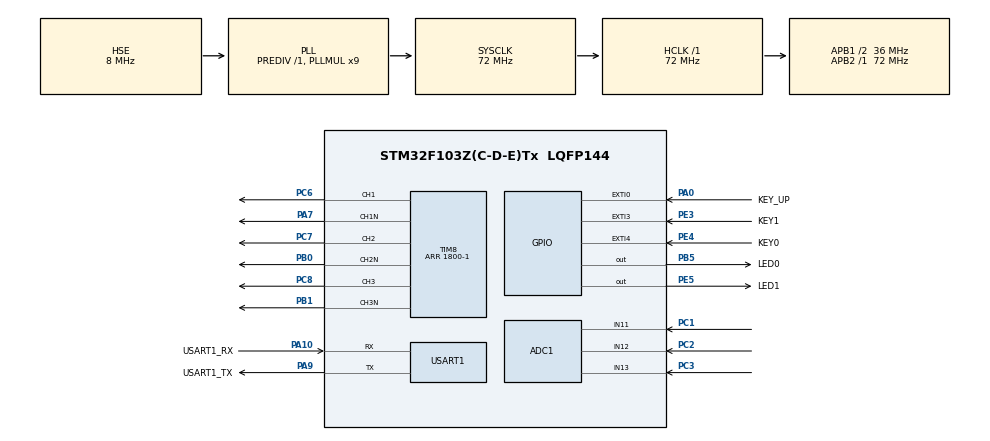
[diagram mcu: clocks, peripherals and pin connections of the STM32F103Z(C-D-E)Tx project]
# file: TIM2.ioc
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ADC1.Channel-3\#ChannelRegularConversion=ADC_CHANNEL_11
ADC1.Channel-4\#ChannelRegularConversion=ADC_CHANNEL_11
ADC1.Channel-5\#ChannelRegularConversion=ADC_CHANNEL_11
ADC1.ContinuousConvMode=ENABLE
ADC1.DiscontinuousConvMode=DISABLE
ADC1.NbrOfConversion=3
ADC1.NbrOfConversionFlag=1
ADC1.Rank-3\#ChannelRegularConversion=1
ADC1.Rank-4\#ChannelRegularConversion=2
ADC1.Rank-5\#ChannelRegularConversion=3
ADC1.SamplingTime-3\#ChannelRegularConversion=ADC_SAMPLETIME_1CYCLE_5
ADC1.SamplingTime-4\#ChannelRegularConversion=ADC_SAMPLETIME_1CYCLE_5
ADC1.SamplingTime-5\#ChannelRegularConversion=ADC_SAMPLETIME_1CYCLE_5
ADC1.master=1
Dma.ADC1.0.Direction=DMA_PERIPH_TO_MEMORY
Dma.ADC1.0.Instance=DMA1_Channel1
Dma.ADC1.0.MemDataAlignment=DMA_MDATAALIGN_HALFWORD
Dma.ADC1.0.MemInc=DMA_MINC_ENABLE
Dma.ADC1.0.Mode=DMA_CIRCULAR
Dma.ADC1.0.PeriphDataAlignment=DMA_PDATAALIGN_HALFWORD
Dma.ADC1.0.PeriphInc=DMA_PINC_DISABLE
Dma.ADC1.0.Priority=DMA_PRIORITY_LOW
Dma.Request0=ADC1
Mcu.Family=STM32F1
Mcu.Name=STM32F103Z(C-D-E)Tx
Mcu.Package=LQFP144
NVIC.DMA1_Channel1_IRQn=true\:0\:0\:false\:false\:true\:false\:true
NVIC.EXTI0_IRQn=true\:4\:0\:true\:false\:true\:true\:true
NVIC.EXTI3_IRQn=true\:4\:0\:true\:false\:true\:true\:true
NVIC.EXTI4_IRQn=true\:4\:0\:true\:false\:true\:true\:true
NVIC.PriorityGroup=NVIC_PRIORITYGROUP_4
NVIC.RCC_IRQn=true\:0\:0\:false\:false\:true\:true\:false
NVIC.TIM2_IRQn=true\:0\:0\:false\:false\:true\:true\:true
NVIC.USART1_IRQn=true\:3\:0\:true\:false\:true\:true\:true
OSC_IN.Mode=HSE-External-Oscillator
OSC_IN.Signal=RCC_OSC_IN
OSC_OUT.Mode=HSE-External-Oscillator
OSC_OUT.Signal=RCC_OSC_OUT
PA0-WKUP.GPIO_Label=KEY_UP
PA0-WKUP.GPIO_PuPd=GPIO_PULLDOWN
PA0-WKUP.Signal=GPXTI0
PA10.GPIO_Label=USART1_RX
PA10.GPIO_PuPd=GPIO_PULLUP
PA10.Mode=Asynchronous
PA10.Signal=USART1_RX
PA13.Mode=Serial_Wire
PA13.Signal=SYS_JTMS-SWDIO
PA14.Mode=Serial_Wire
PA14.Signal=SYS_JTCK-SWCLK
PA7.GPIO_Speed=GPIO_SPEED_FREQ_HIGH
PA7.Mode=PWM Generation1 CH1 CH1N
PA7.Signal=TIM8_CH1N
PA9.GPIO_Label=USART1_TX
PA9.Mode=Asynchronous
PA9.Signal=USART1_TX
PB0.GPIO_Speed=GPIO_SPEED_FREQ_HIGH
PB0.Mode=PWM Generation2 CH2 CH2N
PB0.Signal=TIM8_CH2N
PB1.GPIO_Speed=GPIO_SPEED_FREQ_HIGH
PB1.Mode=PWM Generation3 CH3 CH3N
PB1.Signal=TIM8_CH3N
PB5.GPIO_Label=LED0
PB5.GPIO_PuPd=GPIO_NOPULL
PB5.PinState=GPIO_PIN_SET
PB5.Signal=GPIO_Output
PC1.Signal=ADCx_IN11
PC2.Signal=ADCx_IN12
PC3.Signal=ADCx_IN13
PC6.GPIO_Speed=GPIO_SPEED_FREQ_HIGH
PC6.Signal=S_TIM8_CH1
PC7.GPIO_Speed=GPIO_SPEED_FREQ_HIGH
PC7.Signal=S_TIM8_CH2
PC8.GPIO_Speed=GPIO_SPEED_FREQ_HIGH
PC8.Signal=S_TIM8_CH3
PE3.GPIO_Label=KEY1
PE3.GPIO_ModeDefaultEXTI=GPIO_MODE_IT_FALLING
PE3.GPIO_PuPd=GPIO_PULLUP
PE3.Signal=GPXTI3
PE4.GPIO_Label=KEY0
PE4.GPIO_ModeDefaultEXTI=GPIO_MODE_IT_FALLING
PE4.GPIO_PuPd=GPIO_PULLUP
PE4.Signal=GPXTI4
PE5.GPIO_Label=LED1
PE5.PinState=GPIO_PIN_SET
PE5.Signal=GPIO_Output
ProjectManager.HeapSize=0x200
ProjectManager.StackSize=0x400
ProjectManager.TargetToolchain=MDK-ARM V5
RCC.ADCPresc=RCC_ADCPCLK2_DIV6
RCC.AHBFreq_Value=72000000
RCC.APB1CLKDivider=RCC_HCLK_DIV2
RCC.APB1Freq_Value=36000000
RCC.APB1TimFreq_Value=72000000
RCC.APB2Freq_Value=72000000
RCC.APB2TimFreq_Value=72000000
RCC.HCLKFreq_Value=72000000
RCC.PLLMUL=RCC_PLL_MUL9
RCC.PLLSourceVirtual=RCC_PLLSOURCE_HSE
RCC.SYSCLKFreq_VALUE=72000000
RCC.SYSCLKSource=RCC_SYSCLKSOURCE_PLLCLK
RCC.USBFreq_Value=72000000
SH.ADCx_IN11.0=ADC1_IN11,IN11
SH.ADCx_IN12.0=ADC1_IN12,IN12
SH.ADCx_IN13.0=ADC1_IN13,IN13
SH.S_TIM8_CH1.0=TIM8_CH1,PWM Generation1 CH1 CH1N
SH.S_TIM8_CH2.0=TIM8_CH2,PWM Generation2 CH2 CH2N
SH.S_TIM8_CH3.0=TIM8_CH3,PWM Generation3 CH3 CH3N
TIM2.AutoReloadPreload=TIM_AUTORELOAD_PRELOAD_ENABLE
TIM2.Period=5000-1
TIM2.Prescaler=7200-1
TIM8.AutoReloadPreload=TIM_AUTORELOAD_PRELOAD_ENABLE
TIM8.AutomaticOutput=TIM_AUTOMATICOUTPUT_DISABLE
TIM8.BreakState=TIM_BREAK_DISABLE
TIM8.Channel-PWM\ Generation1\ CH1\ CH1N=TIM_CHANNEL_1
TIM8.Channel-PWM\ Generation2\ CH2\ CH2N=TIM_CHANNEL_2
TIM8.Channel-PWM\ Generation3\ CH3\ CH3N=TIM_CHANNEL_3
TIM8.DeadTime=72
TIM8.OffStateIDLEMode=TIM_OSSI_DISABLE
TIM8.OffStateRunMode=TIM_OSSR_DISABLE
TIM8.Period=1800-1
TIM8.Pulse-PWM\ Generation1\ CH1\ CH1N=900
TIM8.Pulse-PWM\ Generation2\ CH2\ CH2N=600
TIM8.Pulse-PWM\ Generation3\ CH3\ CH3N=1300
USART1.VirtualMode=VM_ASYNC
VP_TIM2_VS_ClockSourceINT.Mode=Internal
VP_TIM8_VS_ClockSourceINT.Mode=Internal
board=custom

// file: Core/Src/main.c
/* USER CODE BEGIN Header */
/**
  ******************************************************************************
  * @file           : main.c
  * @brief          : Main program body
  ******************************************************************************
  * @attention
  *
  * Copyright (c) 2022 STMicroelectronics.
  * All rights reserved.
  *
  * This software is licensed under terms that can be found in the LICENSE file
  * in the root directory of this software component.
  * If no LICENSE file comes with this software, it is provided AS-IS.
  *
  ******************************************************************************
  */
/* USER CODE END Header */
#include "main.h"
#include "adc.h"
#include "dma.h"
#include "tim.h"
#include "usart.h"
#include "gpio.h"

/* USER CODE BEGIN Includes */

#include <stdio.h>
#include "string.h"

/* USER CODE END Includes */

/* USER CODE BEGIN PTD */

extern char RxBuffer[RXBUFFERSIZE];
extern uint8_t aRxBuffer;
extern uint8_t Uart1_Rx_Cnt;
/* USER CODE END PTD */

/* USER CODE BEGIN PD */

//#define Log 1 //��Ϣ��ӡLog��Ϣ�������ӡ��Ϊ0
#define USER_MAIN_DEBUG

#define COUNTOF(__BUFFER__)   (sizeof(__BUFFER__) / sizeof(*(__BUFFER__)))

/* USER CODE END PD */

/* USER CODE BEGIN PM */
#ifdef USER_MAIN_DEBUG

#define user_main_printf(format, ...)	printf(format "\r\n", ##__VA_ARGS__)

#define user_main_info(format, ...)		printf("[\tmain]info:"format "\r\n", ##__VA_ARGS__)

#define user_main_debug(format, ...)	printf("[\tmain]debug:"format "\r\n", ##__VA_ARGS__)

#define user_main_error(format, ...)	printf("[\tmain]error:"format "\r\n", ##__VA_ARGS__)

#else

#define user_main_printf(format, ...)

#define user_main_info(format, ...)

#define user_main_debug(format, ...)

#define user_main_error(format, ...)

#endif
/* USER CODE END PM */

void SystemClock_Config(void);

/* USER CODE BEGIN 0 */

int fputc(int ch, FILE *f){

	uint8_t temp[1] = {ch};
	HAL_UART_Transmit(&huart1, temp, 1, 2);
	return ch;
}

/* USER CODE END 0 */

int main(void)
{
  /* USER CODE BEGIN 1 */
  uint8_t Tx_str[] = "hello world!\r\n";
  uint16_t AD_Buf[3] = {0};
  /* USER CODE END 1 */

  /* MCU Configuration--------------------------------------------------------*/

  /* Reset of all peripherals, Initializes the Flash interface and the Systick. */
  HAL_Init();

  /* Configure the system clock */
  SystemClock_Config();

  /* Initialize all configured peripherals */
  MX_GPIO_Init();
  MX_TIM2_Init();
  MX_USART1_UART_Init();
  MX_TIM8_Init();
  MX_DMA_Init();
  MX_ADC1_Init();
  /* USER CODE BEGIN 2 */

  HAL_TIM_Base_Start_IT(&htim2);
  HAL_UART_Receive_IT(&huart1, (uint8_t *)&aRxBuffer, 1);			// Enable the USART1 Interrupt

  HAL_TIMEx_PWMN_Start(&htim8, TIM_CHANNEL_1);
  HAL_TIM_PWM_Start(&htim8, TIM_CHANNEL_1);

  HAL_TIMEx_PWMN_Start(&htim8, TIM_CHANNEL_2);
  HAL_TIM_PWM_Start(&htim8, TIM_CHANNEL_2);

  HAL_TIMEx_PWMN_Start(&htim8, TIM_CHANNEL_3);
  HAL_TIM_PWM_Start(&htim8, TIM_CHANNEL_3);

  HAL_ADCEx_Calibration_Start(&hadc1);
  HAL_ADC_Start_DMA(&hadc1,(uint32_t *)&AD_Buf, 6);

  user_main_printf("      _       ____    ____  ______   ________  _______    ");
  user_main_printf("     / \\     |_   \\  /   _||_   _ \\ |_   __  ||_   __  \\   ");
  user_main_printf("    / _ \\      |   \\/   |    | |_) |  | |_ \\_|  | |__  |   ");
  user_main_printf("   / ___ \\     | |\\  /| |    |  __'.  |  _| _   |  __  /   ");
  user_main_printf(" _/ /   \\ \\_  _| |_\\/_| |_  _| |__) |_| |__/ | _| |  \\ \\_ ");
  user_main_printf("|____| |____||_____||_____||_______/|________||____| |___|");

  HAL_UART_Transmit(&huart1, Tx_str, sizeof(Tx_str), 1000);
  /* USER CODE END 2 */

  /* Infinite loop */
  while (1)
  {
	printf("AD1=%d\n\r",AD_Buf[0]);
	printf("AD2=%d\n\r",AD_Buf[1]);
	printf("AD3=%d\n\r",AD_Buf[2]);

	HAL_Delay(500);
  }
}

void SystemClock_Config(void)
{
  RCC_OscInitTypeDef RCC_OscInitStruct = {0};
  RCC_ClkInitTypeDef RCC_ClkInitStruct = {0};
  RCC_PeriphCLKInitTypeDef PeriphClkInit = {0};

  /** Initializes the RCC Oscillators according to the specified parameters
  * in the RCC_OscInitTypeDef structure.
  */
  RCC_OscInitStruct.OscillatorType = RCC_OSCILLATORTYPE_HSE;
  RCC_OscInitStruct.HSEState = RCC_HSE_ON;
  RCC_OscInitStruct.HSEPredivValue = RCC_HSE_PREDIV_DIV1;
  RCC_OscInitStruct.HSIState = RCC_HSI_ON;
  RCC_OscInitStruct.PLL.PLLState = RCC_PLL_ON;
  RCC_OscInitStruct.PLL.PLLSource = RCC_PLLSOURCE_HSE;
  RCC_OscInitStruct.PLL.PLLMUL = RCC_PLL_MUL9;
  if (HAL_RCC_OscConfig(&RCC_OscInitStruct) != HAL_OK)
  {
    Error_Handler();
  }
  /** Initializes the CPU, AHB and APB buses clocks
  */
  RCC_ClkInitStruct.ClockType = RCC_CLOCKTYPE_HCLK|RCC_CLOCKTYPE_SYSCLK
                              |RCC_CLOCKTYPE_PCLK1|RCC_CLOCKTYPE_PCLK2;
  RCC_ClkInitStruct.SYSCLKSource = RCC_SYSCLKSOURCE_PLLCLK;
  RCC_ClkInitStruct.AHBCLKDivider = RCC_SYSCLK_DIV1;
  RCC_ClkInitStruct.APB1CLKDivider = RCC_HCLK_DIV2;
  RCC_ClkInitStruct.APB2CLKDivider = RCC_HCLK_DIV1;

  if (HAL_RCC_ClockConfig(&RCC_ClkInitStruct, FLASH_LATENCY_2) != HAL_OK)
  {
    Error_Handler();
  }
  PeriphClkInit.PeriphClockSelection = RCC_PERIPHCLK_ADC;
  PeriphClkInit.AdcClockSelection = RCC_ADCPCLK2_DIV6;
  if (HAL_RCCEx_PeriphCLKConfig(&PeriphClkInit) != HAL_OK)
  {
    Error_Handler();
  }
}

void Error_Handler(void)
{
  __disable_irq();
  while (1)
  {
  }
}
